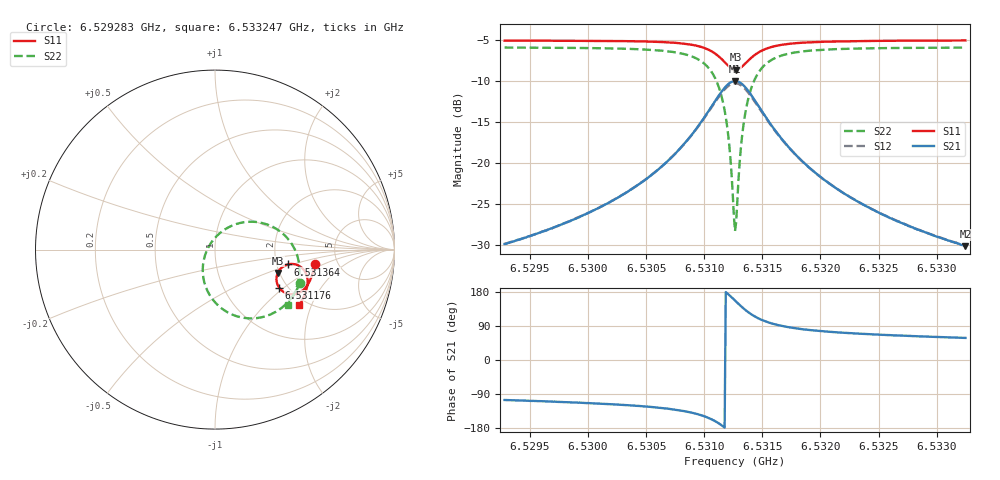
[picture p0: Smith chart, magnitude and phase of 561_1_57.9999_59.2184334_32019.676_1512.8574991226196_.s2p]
#  HZ  S  RI  R  50.00
! Rohde & Schwarz Vector Network Analyzer
! Rohde-Schwarz,ZNB20-2Port,1311601062101988,3.16
! Created: UTC 3/21/2024, 1:15:24 AM
! freq[Hz]  re:S11  im:S11  re:S21  im:S21  re:S12  im:S12  re:S22  im:S22
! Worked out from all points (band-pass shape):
!   401 points, 6.529283 GHz to 6.533247 GHz, reference 50 ohm
!   highest |S21| = -9.95 dB at 6.531265 GHz (marker M1); lowest = -30.1 dB at 6.533247 GHz (marker M2)
!   |S21| within 3 dB of the highest: 6.531068 GHz to 6.531464 GHz (396 kHz wide, 0.00606 % of centre)
!   lowest |S11| = -8.6 dB at 6.531275 GHz (marker M3), VSWR 2.19, Z = 97.8 - j29.5 ohm
!   |S11| at or under -10 dB: nowhere
!   |S22| runs from -28.2 to -5.9 dB; largest |S21 - S12| = 0.013
!   S11 on the Smith chart (normalised r, x): 6.529283 GHz: 3.36, -0.77; 6.531176 GHz: 1.81, -0.92; 6.531364 GHz: 2.30, -0.46; 6.533247 GHz: 1.82, -1.64
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6.5292828e9  0.5551 -0.0789  -0.00864 -0.0311  -0.00927 -0.0309  0.4731 -0.1882
6.5299468e9  0.5432 -0.1344  -0.0187 -0.044  -0.0197 -0.0437  0.4399 -0.2497
6.5303135e9  0.531 -0.1687  -0.0314 -0.0573  -0.0329 -0.0565  0.4062 -0.2925
6.5306109e9  0.513 -0.2011  -0.0542 -0.075  -0.0565 -0.0735  0.3548 -0.3364
6.5308388e9  0.4845 -0.2302  -0.0959 -0.094  -0.0986 -0.0907  0.271 -0.3742
6.5310073e9  0.4388 -0.2483  -0.1663 -0.099  -0.1684 -0.0922  0.1419 -0.3766
6.5311064e9  0.3927 -0.2411  -0.2377 -0.0701  -0.2363 -0.0602  0.0231 -0.3161
6.5311758e9  0.3572 -0.2116  -0.2892 -0.00846  -0.2826 0.00167  -0.0529 -0.2036
6.5312055e9  0.3467 -0.1903  -0.3024 0.0318  -0.2934 0.0405  -0.0676 -0.1348
6.5312551e9  0.3441 -0.1472  -0.2983 0.1092  -0.2866 0.1133  -0.0472 -0.00896
6.531265e9  0.3464 -0.1384  -0.2928 0.1245  -0.2811 0.1276  -0.0357 0.015
6.5312749e9  0.3496 -0.1299  -0.2858 0.1392  -0.2741 0.1413  -0.0218 0.0378
6.5312848e9  0.3537 -0.1219  -0.2774 0.1531  -0.2659 0.1541  -0.00575 0.0587
6.5313245e9  0.3768 -0.0962  -0.2335 0.1972  -0.2239 0.1948  0.0734 0.1234
6.5313641e9  0.4054 -0.0824  -0.1822 0.22  -0.1753 0.2163  0.1614 0.1525
6.5314335e9  0.4504 -0.0832  -0.1039 0.2203  -0.1005 0.2167  0.2923 0.1394
6.5315326e9  0.4891 -0.1066  -0.0372 0.1865  -0.0357 0.1847  0.3997 0.0676
6.5316813e9  0.511 -0.1441  0.00219 0.1371  0.00337 0.1363  0.4576 -0.0316
6.531929e9  0.5158 -0.1883  0.0182 0.0891  0.0192 0.0888  0.4709 -0.1313
6.5322065e9  0.5096 -0.2222  0.0205 0.062  0.0214 0.0618  0.4606 -0.194
6.5325931e9  0.4966 -0.2583  0.0192 0.0426  0.02 0.0423  0.4406 -0.2477
6.5332472e9  0.4707 -0.3077  0.0164 0.0266  0.017 0.0264  0.4058 -0.3066
